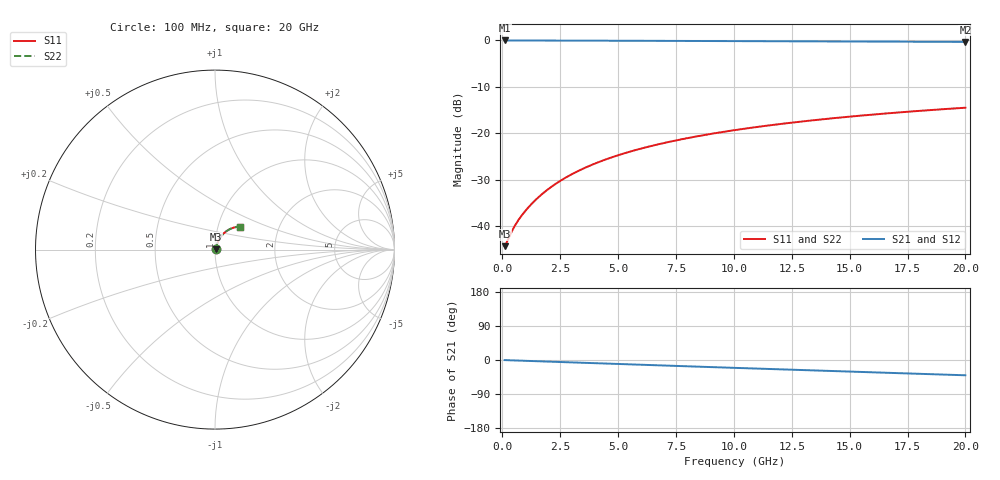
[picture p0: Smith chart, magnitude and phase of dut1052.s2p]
! Touchstone file exported from HFSS 2026.1.0
!  File:  C:/ffzhzh/LocalFiles/Ansys_Project_Files/temp_train_BSMRDL_1052_1783173960_22436.aedt
!  Generated:  10:07:07 PM Jul  4, 2026
!  Design:  BSMRDL
!  Project:  temp_train_BSMRDL_1052_1783173960_22436
! Variables:
!  h_bsmrdl = 3.78um
!  h_ox = 20um
!  h_rdl = 5um
!  h_sub = 80um
!  h_tmrdl = 5um
!  h_tsv = 80um
!  h_via = 3um
!  l_bsmrdl = 711.62um
!  l_sub = 1111.62um
!  l_tmrdl = 200um
!  m_sub = 200um
!  pitch = 17.96um
!  r_tsv = 6um
!  s_tmrdl = 10um
!  w_bsmrdl = 11.34um
!  w_sub = 500um
!  w_tmrdl = 12um
!  x_tsv_center1 = 206um
!  x_tsv_center2 = 928.96um
!  x_tsv_center3 = 1140.96um
!  x_tsv_center4 = 1863.92um
!  x_tsv_center5 = 2075.92um
!  x_tsv_center6 = 2798.88um
# GHz S MA R 50.000000
! Terminal data exported
! Port[1] = BSM_RDL1_1_T1
! Port[2] = BSM_RDL1_1_T2
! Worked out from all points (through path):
!   200 points, 100 MHz to 20 GHz, reference 50 ohm
!   highest |S21| = -0.05 dB at 100 MHz (marker M1); lowest = -0.4 dB at 20 GHz (marker M2)
!   group delay of S21, straight-line fit = 5.58 ps
!   lowest |S11| = -44.3 dB at 100 MHz (marker M3), VSWR 1.01, Z = 50.6 + j0.154 ohm
!   |S11| at or under -10 dB: start of sweep to end of sweep
!   |S22| runs from -44.3 to -14.5 dB; largest |S21 - S12| = 3.3e-15
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0.1  0.006111 14.4  0.9941 -0.2  0.9941 -0.2  0.006111 14.4
! Gamma 0 0 0 0
! Port Impedance 50 0 50 0
0.2  0.006805 25.9  0.9939 -0.5  0.9939 -0.5  0.006805 25.9
0.4  0.008707 39.9  0.9934 -0.9  0.9934 -0.9  0.008707 39.9
0.5  0.009707 44.2  0.9931 -1.1  0.9931 -1.1  0.009708 44.2
0.7  0.01169 50.4  0.9928 -1.5  0.9928 -1.5  0.01169 50.4
1  0.01469 56.8  0.9924 -2.2  0.9924 -2.2  0.01469 56.7
1.2  0.01673 59.8  0.9921 -2.6  0.9921 -2.6  0.01673 59.8
1.4  0.01881 62.1  0.992 -3.0  0.992 -3.0  0.01881 62.1
1.8  0.02308 65.4  0.9916 -3.8  0.9916 -3.8  0.02308 65.3
2.3  0.02852 67.7  0.9911 -4.9  0.9911 -4.9  0.02853 67.7
2.9  0.03513 69.0  0.9904 -6.2  0.9904 -6.2  0.03514 69.0
3.5  0.04174 69.5  0.9897 -7.4  0.9897 -7.4  0.04174 69.4
4.2  0.04938 69.3  0.9887 -8.9  0.9887 -8.9  0.04939 69.3
5  0.05799 68.6  0.9874 -10.5  0.9874 -10.5  0.058 68.6
5.9  0.06747 67.5  0.9859 -12.4  0.9859 -12.4  0.06748 67.5
6.8  0.07672 66.2  0.9842 -14.2  0.9842 -14.2  0.07673 66.1
8.3  0.0916 63.7  0.9814 -17.3  0.9814 -17.3  0.09162 63.6
10.1  0.1086 60.6  0.9778 -20.9  0.9778 -20.9  0.1086 60.5
11.7  0.123 57.8  0.9747 -24.1  0.9747 -24.1  0.1231 57.7
13.4  0.1377 54.8  0.9714 -27.4  0.9714 -27.4  0.1377 54.7
16.7  0.1642 48.9  0.9652 -33.9  0.9652 -33.9  0.1642 48.8
20  0.1881 43.1  0.9593 -40.3  0.9593 -40.3  0.1882 42.9
